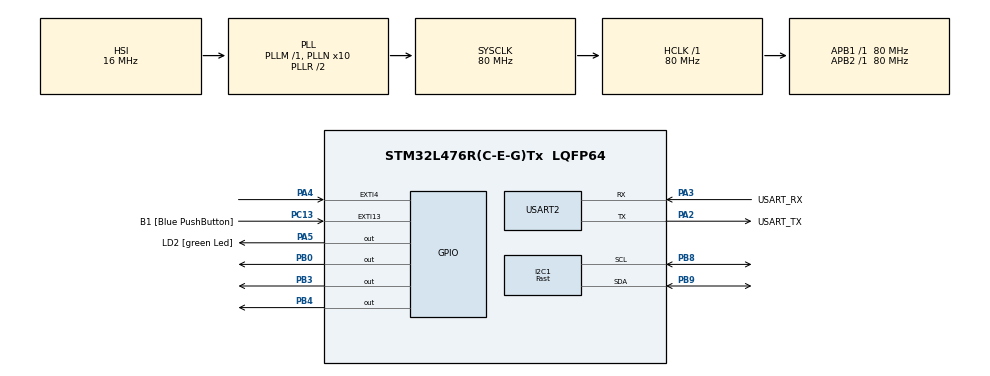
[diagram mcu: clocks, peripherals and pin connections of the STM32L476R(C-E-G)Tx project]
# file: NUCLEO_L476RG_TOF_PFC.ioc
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I2C1.I2C_Speed_Mode=I2C_Fast
I2C1.Timing=0x00F02B86
Mcu.Family=STM32L4
Mcu.Name=STM32L476R(C-E-G)Tx
Mcu.Package=LQFP64
NVIC.EXTI4_IRQn=true\:0\:0\:false\:false\:true\:true\:true\:true
NVIC.PriorityGroup=NVIC_PRIORITYGROUP_4
PA13\ (JTMS-SWDIO).GPIO_Label=TMS
PA13\ (JTMS-SWDIO).Mode=Serial_Wire
PA13\ (JTMS-SWDIO).Signal=SYS_JTMS-SWDIO
PA14\ (JTCK-SWCLK).GPIO_Label=TCK
PA14\ (JTCK-SWCLK).Mode=Serial_Wire
PA14\ (JTCK-SWCLK).Signal=SYS_JTCK-SWCLK
PA2.GPIO_Label=USART_TX
PA2.GPIO_Mode=GPIO_MODE_AF_PP
PA2.GPIO_PuPd=GPIO_NOPULL
PA2.GPIO_Speed=GPIO_SPEED_FREQ_VERY_HIGH
PA2.Mode=Asynchronous
PA2.Signal=USART2_TX
PA3.GPIO_Label=USART_RX
PA3.GPIO_Mode=GPIO_MODE_AF_PP
PA3.GPIO_PuPd=GPIO_NOPULL
PA3.GPIO_Speed=GPIO_SPEED_FREQ_VERY_HIGH
PA3.Mode=Asynchronous
PA3.Signal=USART2_RX
PA4.GPIO_ModeDefaultEXTI=GPIO_MODE_IT_FALLING
PA4.Signal=GPXTI4
PA5.GPIO_Label=LD2 [green Led]
PA5.GPIO_ModeDefaultOutputPP=GPIO_MODE_OUTPUT_PP
PA5.GPIO_PuPd=GPIO_NOPULL
PA5.GPIO_Speed=GPIO_SPEED_FREQ_LOW
PA5.Signal=GPIO_Output
PB0.PinState=GPIO_PIN_SET
PB0.Signal=GPIO_Output
PB3\ (JTDO-TRACESWO).PinState=GPIO_PIN_RESET
PB3\ (JTDO-TRACESWO).Signal=GPIO_Output
PB4\ (NJTRST).PinState=GPIO_PIN_SET
PB4\ (NJTRST).Signal=GPIO_Output
PB8.GPIO_Pu=GPIO_PULLUP
PB8.Mode=I2C
PB8.Signal=I2C1_SCL
PB9.GPIO_Pu=GPIO_PULLUP
PB9.Mode=I2C
PB9.Signal=I2C1_SDA
PC13.GPIO_Label=B1 [Blue PushButton]
PC13.GPIO_ModeDefaultEXTI=GPIO_MODE_IT_FALLING
PC13.GPIO_PuPd=GPIO_NOPULL
PC13.Signal=GPXTI13
PC14-OSC32_IN\ (PC14).Signal=RCC_OSC32_IN
PC15-OSC32_OUT\ (PC15).Signal=RCC_OSC32_OUT
PH0-OSC_IN\ (PH0).Signal=RCC_OSC_IN
PH1-OSC_OUT\ (PH1).Signal=RCC_OSC_OUT
ProjectManager.HeapSize=0x200
ProjectManager.StackSize=0x2000
ProjectManager.TargetToolchain=STM32CubeIDE
RCC.ADCFreq_Value=64000000
RCC.AHBFreq_Value=80000000
RCC.APB1Freq_Value=80000000
RCC.APB1TimFreq_Value=80000000
RCC.APB2Freq_Value=80000000
RCC.APB2TimFreq_Value=80000000
RCC.CortexFreq_Value=80000000
RCC.HCLKFreq_Value=80000000
RCC.HSE_VALUE=8000000
RCC.HSI_VALUE=16000000
RCC.LSE_VALUE=32768
RCC.MSI_VALUE=4000000
RCC.PLLN=10
RCC.PLLSourceVirtual=RCC_PLLSOURCE_HSI
RCC.PREFETCH_ENABLE=1
RCC.SYSCLKFreq_VALUE=80000000
RCC.SYSCLKSource=RCC_SYSCLKSOURCE_PLLCLK
RCC.USBFreq_Value=64000000
RCC.VCOOutputFreq_Value=160000000
USART2.VirtualMode-Asynchronous=VM_ASYNC
board=NUCLEO-L476RG

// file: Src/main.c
/* USER CODE BEGIN Header */
/**
  ******************************************************************************
  * @file           : main.c
  * @brief          : Main program body
  ******************************************************************************
  * @attention
  *
  * Copyright (c) 2026 STMicroelectronics.
  * All rights reserved.
  *
  * This software is licensed under terms that can be found in the LICENSE file
  * in the root directory of this software component.
  * If no LICENSE file comes with this software, it is provided AS-IS.
  *
  ******************************************************************************
  */
/* USER CODE END Header */
#include "main.h"

/* USER CODE BEGIN Includes */
#include "app_x-cube-tof1.h"
#include <errno.h>
/* USER CODE END Includes */

I2C_HandleTypeDef hi2c1;

UART_HandleTypeDef huart2;

void SystemClock_Config(void);
static void MX_GPIO_Init(void);
static void MX_I2C1_Init(void);
static void MX_USART2_UART_Init(void);

int main(void)
{

  /* MCU Configuration--------------------------------------------------------*/

  /* Reset of all peripherals, Initializes the Flash interface and the Systick. */
  HAL_Init();

  /* Configure the system clock */
  SystemClock_Config();

  /* Initialize all configured peripherals */
  MX_GPIO_Init();
  MX_I2C1_Init();
  MX_USART2_UART_Init();
  /* USER CODE BEGIN 2 */
  MX_X_CUBE_TOF1_Init();

  /* USER CODE END 2 */

  /* Infinite loop */
  while (1)
  {

    /* USER CODE BEGIN 3 */
    MX_X_CUBE_TOF1_Process();
  }
  /* USER CODE END 3 */
}

void SystemClock_Config(void)
{
  RCC_OscInitTypeDef RCC_OscInitStruct = {0};
  RCC_ClkInitTypeDef RCC_ClkInitStruct = {0};

  /** Configure the main internal regulator output voltage
  */
  if (HAL_PWREx_ControlVoltageScaling(PWR_REGULATOR_VOLTAGE_SCALE1) != HAL_OK)
  {
    Error_Handler();
  }

  /** Initializes the RCC Oscillators according to the specified parameters
  * in the RCC_OscInitTypeDef structure.
  */
  RCC_OscInitStruct.OscillatorType = RCC_OSCILLATORTYPE_HSI;
  RCC_OscInitStruct.HSIState = RCC_HSI_ON;
  RCC_OscInitStruct.HSICalibrationValue = RCC_HSICALIBRATION_DEFAULT;
  RCC_OscInitStruct.PLL.PLLState = RCC_PLL_ON;
  RCC_OscInitStruct.PLL.PLLSource = RCC_PLLSOURCE_HSI;
  RCC_OscInitStruct.PLL.PLLM = 1;
  RCC_OscInitStruct.PLL.PLLN = 10;
  RCC_OscInitStruct.PLL.PLLP = RCC_PLLP_DIV7;
  RCC_OscInitStruct.PLL.PLLQ = RCC_PLLQ_DIV2;
  RCC_OscInitStruct.PLL.PLLR = RCC_PLLR_DIV2;
  if (HAL_RCC_OscConfig(&RCC_OscInitStruct) != HAL_OK)
  {
    Error_Handler();
  }

  /** Initializes the CPU, AHB and APB buses clocks
  */
  RCC_ClkInitStruct.ClockType = RCC_CLOCKTYPE_HCLK|RCC_CLOCKTYPE_SYSCLK
                              |RCC_CLOCKTYPE_PCLK1|RCC_CLOCKTYPE_PCLK2;
  RCC_ClkInitStruct.SYSCLKSource = RCC_SYSCLKSOURCE_PLLCLK;
  RCC_ClkInitStruct.AHBCLKDivider = RCC_SYSCLK_DIV1;
  RCC_ClkInitStruct.APB1CLKDivider = RCC_HCLK_DIV1;
  RCC_ClkInitStruct.APB2CLKDivider = RCC_HCLK_DIV1;

  if (HAL_RCC_ClockConfig(&RCC_ClkInitStruct, FLASH_LATENCY_4) != HAL_OK)
  {
    Error_Handler();
  }
}

static void MX_I2C1_Init(void)
{

  hi2c1.Instance = I2C1;
  hi2c1.Init.Timing = 0x00F02B86;
  hi2c1.Init.OwnAddress1 = 0;
  hi2c1.Init.AddressingMode = I2C_ADDRESSINGMODE_7BIT;
  hi2c1.Init.DualAddressMode = I2C_DUALADDRESS_DISABLE;
  hi2c1.Init.OwnAddress2 = 0;
  hi2c1.Init.OwnAddress2Masks = I2C_OA2_NOMASK;
  hi2c1.Init.GeneralCallMode = I2C_GENERALCALL_DISABLE;
  hi2c1.Init.NoStretchMode = I2C_NOSTRETCH_DISABLE;
  if (HAL_I2C_Init(&hi2c1) != HAL_OK)
  {
    Error_Handler();
  }
  if (HAL_I2CEx_ConfigAnalogFilter(&hi2c1, I2C_ANALOGFILTER_ENABLE) != HAL_OK)
  {
    Error_Handler();
  }
  if (HAL_I2CEx_ConfigDigitalFilter(&hi2c1, 0) != HAL_OK)
  {
    Error_Handler();
  }
}

static void MX_USART2_UART_Init(void)
{

  huart2.Instance = USART2;
  huart2.Init.BaudRate = 115200;
  huart2.Init.WordLength = UART_WORDLENGTH_8B;
  huart2.Init.StopBits = UART_STOPBITS_1;
  huart2.Init.Parity = UART_PARITY_NONE;
  huart2.Init.Mode = UART_MODE_TX_RX;
  huart2.Init.HwFlowCtl = UART_HWCONTROL_NONE;
  huart2.Init.OverSampling = UART_OVERSAMPLING_16;
  huart2.Init.OneBitSampling = UART_ONE_BIT_SAMPLE_DISABLE;
  huart2.AdvancedInit.AdvFeatureInit = UART_ADVFEATURE_NO_INIT;
  if (HAL_UART_Init(&huart2) != HAL_OK)
  {
    Error_Handler();
  }

}

static void MX_GPIO_Init(void)
{
  GPIO_InitTypeDef GPIO_InitStruct = {0};

  /* GPIO Ports Clock Enable */
  __HAL_RCC_GPIOC_CLK_ENABLE();
  __HAL_RCC_GPIOH_CLK_ENABLE();
  __HAL_RCC_GPIOA_CLK_ENABLE();
  __HAL_RCC_GPIOB_CLK_ENABLE();

  /*Configure GPIO pin Output Level */
  HAL_GPIO_WritePin(LD2_GPIO_Port, LD2_Pin, GPIO_PIN_RESET);

  /*Configure GPIO pin Output Level */
  HAL_GPIO_WritePin(GPIOB, GPIO_PIN_0|GPIO_PIN_4, GPIO_PIN_SET);

  /*Configure GPIO pin Output Level */
  HAL_GPIO_WritePin(GPIOB, GPIO_PIN_3, GPIO_PIN_RESET);

  /*Configure GPIO pin : B1_Pin */
  GPIO_InitStruct.Pin = B1_Pin;
  GPIO_InitStruct.Mode = GPIO_MODE_IT_FALLING;
  GPIO_InitStruct.Pull = GPIO_NOPULL;
  HAL_GPIO_Init(B1_GPIO_Port, &GPIO_InitStruct);

  /*Configure GPIO pin : PA4 */
  GPIO_InitStruct.Pin = GPIO_PIN_4;
  GPIO_InitStruct.Mode = GPIO_MODE_IT_FALLING;
  GPIO_InitStruct.Pull = GPIO_NOPULL;
  HAL_GPIO_Init(GPIOA, &GPIO_InitStruct);

  /*Configure GPIO pin : LD2_Pin */
  GPIO_InitStruct.Pin = LD2_Pin;
  GPIO_InitStruct.Mode = GPIO_MODE_OUTPUT_PP;
  GPIO_InitStruct.Pull = GPIO_NOPULL;
  GPIO_InitStruct.Speed = GPIO_SPEED_FREQ_LOW;
  HAL_GPIO_Init(LD2_GPIO_Port, &GPIO_InitStruct);

  /*Configure GPIO pins : PB0 PB3 PB4 */
  GPIO_InitStruct.Pin = GPIO_PIN_0|GPIO_PIN_3|GPIO_PIN_4;
  GPIO_InitStruct.Mode = GPIO_MODE_OUTPUT_PP;
  GPIO_InitStruct.Pull = GPIO_NOPULL;
  GPIO_InitStruct.Speed = GPIO_SPEED_FREQ_LOW;
  HAL_GPIO_Init(GPIOB, &GPIO_InitStruct);

  /* EXTI interrupt init */
  HAL_NVIC_SetPriority(EXTI4_IRQn, 0, 0);
  HAL_NVIC_EnableIRQ(EXTI4_IRQn);

}

/* USER CODE BEGIN 4 */
int _write(int file, char *data, int length)
{
  int sent = 0;

  if ((file != 1) && (file != 2))
  {
    errno = EBADF;
    return -1;
  }
  if (length < 0)
  {
    errno = EINVAL;
    return -1;
  }

  while (sent < length)
  {
    uint16_t chunk = (length - sent > 256) ? 256U : (uint16_t)(length - sent);
    if (HAL_UART_Transmit(&huart2, (uint8_t *)data + sent, chunk, 1000U) != HAL_OK)
    {
      errno = EIO;
      return (sent > 0) ? sent : -1;
    }
    sent += chunk;
  }
  return sent;
}

/* USER CODE END 4 */

void Error_Handler(void)
{
  __disable_irq();
  while (1)
  {
  }
}
